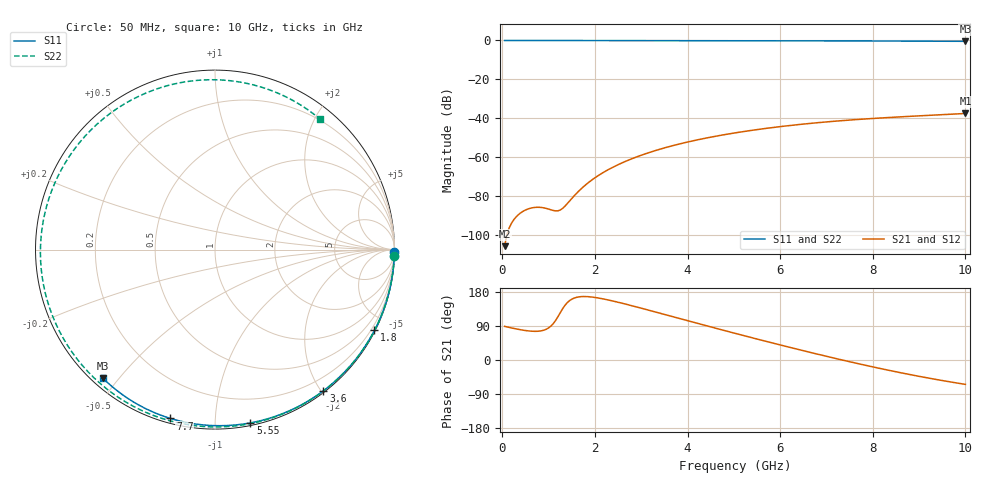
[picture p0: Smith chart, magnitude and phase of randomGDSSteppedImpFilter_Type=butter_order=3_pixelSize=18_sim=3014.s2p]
! freq	dB(S11)	phase(S11)	dB(S12)	phase(S12)
!  dB(S21)	phase(S21)	dB(S22)	phase(S22)
!S-par simulation data
#  GHz  S  DB  R 50
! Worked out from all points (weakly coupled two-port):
!   200 points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, 50 MHz to 10 GHz, reference 50 ohm
!   highest |S21| = -37.50 dB at 10 GHz (marker M1); lowest = -105.7 dB at 50 MHz (marker M2)
!   lowest |S11| = -0.4 dB at 10 GHz (marker M3), VSWR 39.15, Z = 1.54 - j22.7 ohm
!   |S11| at or under -10 dB: nowhere
!   |S22| runs from -0.6 to 0.0 dB; largest |S21 - S12| = 0
!   S11 on the Smith chart (normalised r, x): 50 MHz: open; 1.8 GHz: 0.04, -4.19; 3.6 GHz: 0.02, -2.03; 5.55 GHz: 0.02, -1.22; 7.7 GHz: 0.02, -0.77; 10 GHz: 0.03, -0.45
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0.05  -0.00 -0.8  -105.67 88.7  -105.67 88.7  -0.00 -2.1
0.4  -0.01 -6.0  -88.50 79.7  -88.50 79.7  -0.02 -16.3
0.75  -0.01 -11.3  -85.69 75.8  -85.69 75.8  -0.04 -30.2
1.15  -0.02 -17.3  -87.55 104.2  -87.55 104.2  -0.06 -45.8
1.55  -0.03 -23.2  -79.86 163.3  -79.86 163.3  -0.08 -60.8
1.75  -0.03 -26.1  -75.18 167.5  -75.18 167.5  -0.08 -68.1
1.8  -0.03 -26.9  -74.15 167.5  -74.15 167.5  -0.08 -69.9
2.1  -0.04 -31.2  -68.98 163.1  -68.98 163.1  -0.09 -80.4
2.45  -0.05 -36.3  -64.38 153.9  -64.38 153.9  -0.11 -92.1
2.9  -0.06 -42.7  -59.82 140.0  -59.82 140.0  -0.12 -106.5
3.4  -0.07 -49.8  -55.88 123.6  -55.88 123.6  -0.14 -121.6
3.6  -0.07 -52.5  -54.54 117.0  -54.54 117.0  -0.15 -127.5
4.35  -0.09 -62.7  -50.38 92.3  -50.38 92.3  -0.18 -148.4
5.05  -0.11 -72.0  -47.38 69.6  -47.38 69.6  -0.21 -167.1
5.55  -0.13 -78.5  -45.62 53.7  -45.62 53.7  -0.24 179.8
6.1  -0.15 -85.4  -43.98 36.7  -43.98 36.7  -0.28 165.4
6.7  -0.18 -92.8  -42.48 18.6  -42.48 18.6  -0.32 149.6
7.7  -0.24 -104.8  -40.54 -10.1  -40.54 -10.1  -0.39 122.0
8.35  -0.29 -112.4  -39.57 -27.3  -39.57 -27.3  -0.44 103.1
8.8  -0.32 -117.5  -38.98 -38.4  -38.98 -38.4  -0.48 89.4
9.2  -0.36 -122.1  -38.49 -47.7  -38.49 -47.7  -0.52 76.9
10  -0.44 -131.1  -37.50 -64.3  -37.50 -64.3  -0.60 51.1
